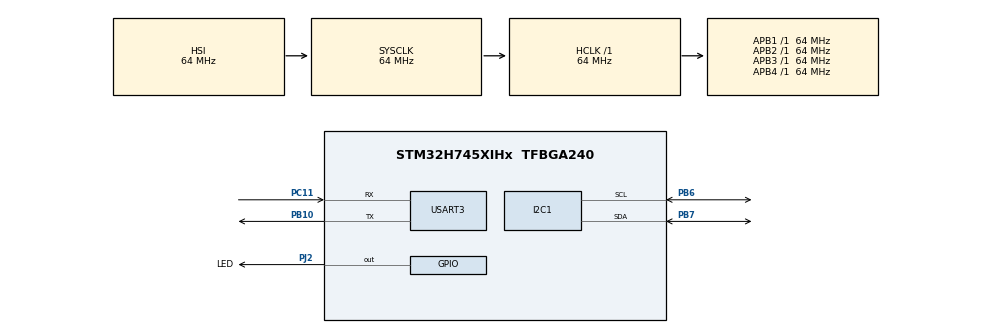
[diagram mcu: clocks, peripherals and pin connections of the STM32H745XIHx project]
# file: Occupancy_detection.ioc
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CortexM4.IPs=FATFS_M4\:I,FREERTOS_M4\:I,IWDG2\:I,RCC,USB_DEVICE_M4\:I,USB_HOST_M4\:I,WWDG2\:I,DMA,BDMA,MDMA,NVIC2\:I,ETH\:I,FDCAN1\:I,FDCAN2\:I,FMC\:I,QUADSPI\:I,SAI2\:I,SDMMC1\:I,LTDC\:I,USB_OTG_FS\:I,SAI4\:I,DEBUG,PDM2PCM_M4\:I,PWR,RESMGR_UTILITY,SYS_M4\:I,CORTEX_M4\:I,OPENAMP_M4\:I,VREFBUF,GPIO
CortexM7.IPs=FATFS_M7\:I,FREERTOS_M7\:I,IWDG1\:I,RCC\:I,USB_DEVICE_M7\:I,USB_HOST_M7\:I,WWDG1\:I,DMA\:I,BDMA\:I,MDMA\:I,NVIC1\:I,CORTEX_M7\:I,DEBUG\:I,PDM2PCM_M7\:I,PWR\:I,RESMGR_UTILITY\:I,SYS\:I,OPENAMP_M7\:I,VREFBUF\:I,GPIO\:I,RTC\:I,I2C1\:I,USART3\:I,STMicroelectronics.X-CUBE-AI.9.0.0_M7\:I
CortexM7.Pins=PJ2
I2C1.Speed=50
I2C1.Timing=0x403032CA
Mcu.Family=STM32H7
Mcu.Name=STM32H745XIHx
Mcu.Package=TFBGA240
NVIC1.I2C1_EV_IRQn=true\:0\:0\:false\:false\:true\:true\:true\:true
NVIC1.PriorityGroup=NVIC_PRIORITYGROUP_4
NVIC1.USART3_IRQn=true\:0\:0\:false\:false\:true\:true\:true\:true
NVIC2.PriorityGroup=NVIC_PRIORITYGROUP_4
PB10.Mode=Asynchronous
PB10.PinAttribute=CortexM7
PB10.Signal=USART3_TX
PB6.GPIO_Pu=GPIO_PULLUP
PB6.Mode=I2C
PB6.PinAttribute=CortexM7
PB6.Signal=I2C1_SCL
PB7.GPIO_Pu=GPIO_PULLUP
PB7.Mode=I2C
PB7.PinAttribute=CortexM7
PB7.Signal=I2C1_SDA
PC11.Mode=Asynchronous
PC11.PinAttribute=CortexM7
PC11.Signal=USART3_RX
PJ2.GPIO_Label=LED
PJ2.PinAttribute=CortexM7
PJ2.Signal=GPIO_Output
ProjectManager.HeapSize=M4-0x200,M7-0x800
ProjectManager.StackSize=M4-0x400,M7-0x800
ProjectManager.TargetToolchain=STM32CubeIDE
RCC.ADCFreq_Value=129000000
RCC.APB1Freq_Value=64000000
RCC.APB2Freq_Value=64000000
RCC.APB3Freq_Value=64000000
RCC.APB4Freq_Value=64000000
RCC.CortexFreq_Value=64000000
RCC.DIVM1=23
RCC.DIVN1=177
RCC.DIVN3=192
RCC.DIVQ1=4
RCC.DIVR1=4
RCC.HCLKFreq_Value=64000000
RCC.PLL2FRACN=0
RCC.PLL3FRACN=0
RCC.PLLFRACN=0
RCC.PWR_Regulator_Voltage_Scale=PWR_REGULATOR_VOLTAGE_SCALE2
RCC.SYSCLKFreq_VALUE=64000000
RCC.SupplySource=PWR_DIRECT_SMPS_SUPPLY
RCC.USBFreq_Value=123130434.78260869
RTC.Date=2
RTC.Hours=14
RTC.Month=RTC_MONTH_FEBRUARY
RTC.Year=23
STMicroelectronics.X-CUBE-AI.9.0.0_M7.HeapSize=0x800
STMicroelectronics.X-CUBE-AI.9.0.0_M7.ReadyForCodeGeneration=false
STMicroelectronics.X-CUBE-AI.9.0.0_M7.StackSize=0x800
USART3.VirtualMode-Asynchronous=VM_ASYNC
VP_RTC_VS_RTC_Activate.Mode=RTC_Enabled
VP_RTC_VS_RTC_Calendar.Mode=RTC_Calendar
VP_SYS_M4_VS_Systick.Mode=SysTick
board=STM32H745I-DISCO

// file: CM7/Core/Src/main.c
/* USER CODE BEGIN Header */
/**
  ******************************************************************************
  * @file           : main.c
  * @brief          : Main program body
  ******************************************************************************
  * @attention
  *
  * Copyright (c) 2024 STMicroelectronics.
  * All rights reserved.
  *
  * This software is licensed under terms that can be found in the LICENSE file
  * in the root directory of this software component.
  * If no LICENSE file comes with this software, it is provided AS-IS.
  *
  ******************************************************************************
  */
/* USER CODE END Header */
#include "main.h"

/* USER CODE BEGIN Includes */
#include "scd30.h"
#include <stdio.h>
#include <string.h>
#include <time.h>

/* USER CODE END Includes */

/* USER CODE BEGIN PD */

#ifndef HSEM_ID_0
#define HSEM_ID_0 (0U) /* HW semaphore 0*/
#endif

#define DISPLAY_LENGTH 100

/* Slave I2C address */
#define SCD30_I2C_ADDRESS 0x61

/* Codes des commandes */
#define SCD30_CMD_START_PERIODIC_MEASUREMENT 0x0010
#define SCD30_CMD_STOP_PERIODIC_MEASUREMENT 0x0104
#define SCD30_CMD_READ_MEASUREMENT 0x0300
#define SCD30_CMD_SET_MEASUREMENT_INTERVAL 0x4600
#define SCD30_CMD_GET_DATA_READY 0x0202
#define SCD30_CMD_SET_TEMPERATURE_OFFSET 0x5403
#define SCD30_CMD_SET_ALTITUDE 0x5102
#define SCD30_CMD_SET_FORCED_RECALIBRATION 0x5204
#define SCD30_CMD_AUTO_SELF_CALIBRATION 0x5306
#define SCD30_CMD_READ_SERIAL 0xD033

#define SCD30_SERIAL_NUM_WORDS 16
#define SCD30_WRITE_DELAY_US 20000
#define SCD30_MAX_BUFFER_WORDS 24
#define SCD30_CMD_SINGLE_WORD_BUF_LEN \
    (SENSIRION_COMMAND_SIZE + SENSIRION_WORD_SIZE + CRC8_LEN)

/* USER CODE END PD */

/* USER CODE BEGIN PM */
#define countof(a) (sizeof(a) / sizeof(*(a)))
/* USER CODE END PM */

I2C_HandleTypeDef hi2c1;

RTC_HandleTypeDef hrtc;

UART_HandleTypeDef huart3;

/* USER CODE BEGIN PV */
char display_str[DISPLAY_LENGTH] = ""; // formated string for measurements
uint8_t INIT[] = "***** Initialize SCD30 sensor *****\r\n";
uint8_t PROBING_FAIL[] = "SCD30 sensor probing failed\r\n";
uint8_t PROBING_SUCCESS[] = "SCD30 sensor probing successful\n\n\r";
uint8_t NOT_READY[] = "\r\nError reading data_ready flag\r\n ";
uint8_t READY_TIMEOUT[] = "\r\nTimeout waiting for data_ready flag\r\n";
uint8_t MEASURE_ERROR[] = "\r\nerror reading measurement\r\n";
uint8_t OFFICE[] = "Please type the office number: ";
uint8_t OCCUPANTS[] = "Please type the number of occupants\r\n";
uint8_t UART_ERROR[] = "UART failure\r\n";
uint8_t UART_OK[] = "\r\nOKAY\r\n";

uint8_t office_number = 0;
uint8_t occupancy = 1;

uint8_t data_buffer[100]; // data buffer
uint8_t recvd_data; // receive buffer
uint32_t count=0; // count how many bytes are received

uint8_t aShowTime[50] = {0};
/* USER CODE END PV */

void SystemClock_Config(void);
static void MX_GPIO_Init(void);
static void MX_I2C1_Init(void);
static void MX_RTC_Init(void);
static void MX_USART3_UART_Init(void);

int main(void)
{

/* USER CODE BEGIN Boot_Mode_Sequence_0 */
  int32_t timeout;
/* USER CODE END Boot_Mode_Sequence_0 */

/* USER CODE BEGIN Boot_Mode_Sequence_1 */
  /* Wait until CPU2 boots and enters in stop mode or timeout*/
    /*timeout = 0xFFFF;
    while((__HAL_RCC_GET_FLAG(RCC_FLAG_D2CKRDY) != RESET) && (timeout-- > 0));
    if ( timeout < 0 )
    {
  	  Error_Handler();
    }*/
/* USER CODE END Boot_Mode_Sequence_1 */
  /* MCU Configuration--------------------------------------------------------*/

  /* Reset of all peripherals, Initializes the Flash interface and the Systick. */
  HAL_Init();

  /* Configure the system clock */
  SystemClock_Config();
/* USER CODE BEGIN Boot_Mode_Sequence_2 */
/* When system initialization is finished, Cortex-M7 will release Cortex-M4 by means of
HSEM notification */
/*HW semaphore Clock enable*/
__HAL_RCC_HSEM_CLK_ENABLE();
/*Take HSEM */
HAL_HSEM_FastTake(HSEM_ID_0);
/*Release HSEM in order to notify the CPU2(CM4)*/
HAL_HSEM_Release(HSEM_ID_0,0);
/* wait until CPU2 wakes up from stop mode */
timeout = 0xFFFF;
while((__HAL_RCC_GET_FLAG(RCC_FLAG_D2CKRDY) == RESET) && (timeout-- > 0));
if ( timeout < 0 )
{
Error_Handler();
}
/* USER CODE END Boot_Mode_Sequence_2 */

  /* Initialize all configured peripherals */
  MX_GPIO_Init();
  MX_I2C1_Init();
  MX_RTC_Init();
  MX_USART3_UART_Init();
  /* USER CODE BEGIN 2 */

  float co2_ppm, temperature, relative_humidity;
  int16_t err;
  uint16_t interval_in_seconds = 2;//900;

  if (HAL_UART_Transmit(&huart3, INIT, countof(INIT)-1, 1000) != HAL_OK)
  {
	  Error_Handler();
  }

  /* Busy loop for initialization, because the main loop does not work without
   * a sensor.
   */
  while (scd30_probe(&hi2c1) != NO_ERROR) {
	  HAL_GPIO_TogglePin(GPIOJ, GPIO_PIN_2);
	  // probing failed
	  if (HAL_UART_Transmit(&huart3, PROBING_FAIL, countof(PROBING_FAIL)-1, 1000) != HAL_OK)
	  {
		  Error_Handler();
	  }
      sensirion_sleep_usec(1000000u);
  }
  // probing was successful

  if (HAL_UART_Transmit(&huart3, PROBING_SUCCESS, countof(PROBING_SUCCESS)-1, 1000) != HAL_OK)
  {
	  Error_Handler();
  }

  scd30_set_measurement_interval(&hi2c1, interval_in_seconds);
  sensirion_sleep_usec(20000u);
  scd30_start_periodic_measurement(&hi2c1, 0);
  /* USER CODE END 2 */

  /* Infinite loop */
  while (1)
  {

    /* USER CODE BEGIN 3 */
	  uint16_t data_ready = 0;
      uint16_t timeout = 0;

      /* Poll data_ready flag until data is available. Allow 20% more than
       * the measurement interval to account for clock imprecision of the
       * sensor.
       */
      for (timeout = 0; (100000 * timeout) < (interval_in_seconds * 1200000);
           ++timeout) {
          err = scd30_get_data_ready(&hi2c1, &data_ready);
          if (err != NO_ERROR) {
        	  HAL_GPIO_TogglePin(GPIOJ, GPIO_PIN_2);

        	  /* Error reading data_ready flag */
        	  if (HAL_UART_Transmit(&huart3, NOT_READY, countof(NOT_READY)-1, 1000) != HAL_OK)
        	  {
        		  Error_Handler();
        	  }
          }
          if (data_ready) {
              break;
          }
          sensirion_sleep_usec(100000);
      }
      if (!data_ready) {
    	  /* Timeout waiting for data_ready flag */
		  if (HAL_UART_Transmit(&huart3, READY_TIMEOUT, countof(READY_TIMEOUT)-1, 1000) != HAL_OK)
		  {
			  Error_Handler();
		  }
          continue;
      }

      /* Measure co2, temperature and relative humidity and store into
       * variables.
       */
      err =
          scd30_read_measurement(&hi2c1, &co2_ppm, &temperature, &relative_humidity);
      if (err != NO_ERROR) {
          /* error reading measurement */
    	  if (HAL_UART_Transmit(&huart3, MEASURE_ERROR, countof(MEASURE_ERROR)-1, 1000) != HAL_OK)
		  {
			  Error_Handler();
		  }

      } else {
          /* Display values */
    	  display_values(display_str, temperature, co2_ppm, relative_humidity, office_number, occupancy);
    	  if (HAL_UART_Transmit(&huart3, (uint8_t *)display_str, countof(display_str)-1, 1000) != HAL_OK)
    	  {
    		  Error_Handler();
    	  }
      }
  }
  /* USER CODE END 3 */
}

void SystemClock_Config(void)
{
  RCC_OscInitTypeDef RCC_OscInitStruct = {0};
  RCC_ClkInitTypeDef RCC_ClkInitStruct = {0};

  /** Supply configuration update enable
  */
  HAL_PWREx_ConfigSupply(PWR_DIRECT_SMPS_SUPPLY);

  /** Configure the main internal regulator output voltage
  */
  __HAL_PWR_VOLTAGESCALING_CONFIG(PWR_REGULATOR_VOLTAGE_SCALE2);

  while(!__HAL_PWR_GET_FLAG(PWR_FLAG_VOSRDY)) {}

  /** Initializes the RCC Oscillators according to the specified parameters
  * in the RCC_OscInitTypeDef structure.
  */
  RCC_OscInitStruct.OscillatorType = RCC_OSCILLATORTYPE_HSI|RCC_OSCILLATORTYPE_LSI;
  RCC_OscInitStruct.HSIState = RCC_HSI_DIV1;
  RCC_OscInitStruct.HSICalibrationValue = RCC_HSICALIBRATION_DEFAULT;
  RCC_OscInitStruct.LSIState = RCC_LSI_ON;
  RCC_OscInitStruct.PLL.PLLState = RCC_PLL_NONE;
  if (HAL_RCC_OscConfig(&RCC_OscInitStruct) != HAL_OK)
  {
    Error_Handler();
  }

  /** Initializes the CPU, AHB and APB buses clocks
  */
  RCC_ClkInitStruct.ClockType = RCC_CLOCKTYPE_HCLK|RCC_CLOCKTYPE_SYSCLK
                              |RCC_CLOCKTYPE_PCLK1|RCC_CLOCKTYPE_PCLK2
                              |RCC_CLOCKTYPE_D3PCLK1|RCC_CLOCKTYPE_D1PCLK1;
  RCC_ClkInitStruct.SYSCLKSource = RCC_SYSCLKSOURCE_HSI;
  RCC_ClkInitStruct.SYSCLKDivider = RCC_SYSCLK_DIV1;
  RCC_ClkInitStruct.AHBCLKDivider = RCC_HCLK_DIV1;
  RCC_ClkInitStruct.APB3CLKDivider = RCC_APB3_DIV1;
  RCC_ClkInitStruct.APB1CLKDivider = RCC_APB1_DIV1;
  RCC_ClkInitStruct.APB2CLKDivider = RCC_APB2_DIV1;
  RCC_ClkInitStruct.APB4CLKDivider = RCC_APB4_DIV1;

  if (HAL_RCC_ClockConfig(&RCC_ClkInitStruct, FLASH_LATENCY_1) != HAL_OK)
  {
    Error_Handler();
  }
}

static void MX_I2C1_Init(void)
{

  hi2c1.Instance = I2C1;
  hi2c1.Init.Timing = 0x403032CA;
  hi2c1.Init.OwnAddress1 = 0;
  hi2c1.Init.AddressingMode = I2C_ADDRESSINGMODE_7BIT;
  hi2c1.Init.DualAddressMode = I2C_DUALADDRESS_DISABLE;
  hi2c1.Init.OwnAddress2 = 0;
  hi2c1.Init.OwnAddress2Masks = I2C_OA2_NOMASK;
  hi2c1.Init.GeneralCallMode = I2C_GENERALCALL_DISABLE;
  hi2c1.Init.NoStretchMode = I2C_NOSTRETCH_DISABLE;
  if (HAL_I2C_Init(&hi2c1) != HAL_OK)
  {
    Error_Handler();
  }

  /** Configure Analogue filter
  */
  if (HAL_I2CEx_ConfigAnalogFilter(&hi2c1, I2C_ANALOGFILTER_ENABLE) != HAL_OK)
  {
    Error_Handler();
  }

  /** Configure Digital filter
  */
  if (HAL_I2CEx_ConfigDigitalFilter(&hi2c1, 0) != HAL_OK)
  {
    Error_Handler();
  }

}

static void MX_RTC_Init(void)
{

  RTC_TimeTypeDef sTime = {0};
  RTC_DateTypeDef sDate = {0};

  /** Initialize RTC Only
  */
  hrtc.Instance = RTC;
  hrtc.Init.HourFormat = RTC_HOURFORMAT_24;
  hrtc.Init.AsynchPrediv = 127;
  hrtc.Init.SynchPrediv = 255;
  hrtc.Init.OutPut = RTC_OUTPUT_DISABLE;
  hrtc.Init.OutPutPolarity = RTC_OUTPUT_POLARITY_HIGH;
  hrtc.Init.OutPutType = RTC_OUTPUT_TYPE_OPENDRAIN;
  hrtc.Init.OutPutRemap = RTC_OUTPUT_REMAP_NONE;
  if (HAL_RTC_Init(&hrtc) != HAL_OK)
  {
    Error_Handler();
  }

  /** Initialize RTC and set the Time and Date
  */
  sTime.Hours = 0x14;
  sTime.Minutes = 0x0;
  sTime.Seconds = 0x0;
  sTime.DayLightSaving = RTC_DAYLIGHTSAVING_NONE;
  sTime.StoreOperation = RTC_STOREOPERATION_RESET;
  if (HAL_RTC_SetTime(&hrtc, &sTime, RTC_FORMAT_BCD) != HAL_OK)
  {
    Error_Handler();
  }
  sDate.WeekDay = RTC_WEEKDAY_MONDAY;
  sDate.Month = RTC_MONTH_FEBRUARY;
  sDate.Date = 0x2;
  sDate.Year = 0x23;

  if (HAL_RTC_SetDate(&hrtc, &sDate, RTC_FORMAT_BCD) != HAL_OK)
  {
    Error_Handler();
  }

}

static void MX_USART3_UART_Init(void)
{

  huart3.Instance = USART3;
  huart3.Init.BaudRate = 115200;
  huart3.Init.WordLength = UART_WORDLENGTH_8B;
  huart3.Init.StopBits = UART_STOPBITS_1;
  huart3.Init.Parity = UART_PARITY_NONE;
  huart3.Init.Mode = UART_MODE_TX_RX;
  huart3.Init.HwFlowCtl = UART_HWCONTROL_NONE;
  huart3.Init.OverSampling = UART_OVERSAMPLING_16;
  huart3.Init.OneBitSampling = UART_ONE_BIT_SAMPLE_DISABLE;
  huart3.Init.ClockPrescaler = UART_PRESCALER_DIV1;
  huart3.AdvancedInit.AdvFeatureInit = UART_ADVFEATURE_NO_INIT;
  if (HAL_UART_Init(&huart3) != HAL_OK)
  {
    Error_Handler();
  }
  if (HAL_UARTEx_SetTxFifoThreshold(&huart3, UART_TXFIFO_THRESHOLD_1_8) != HAL_OK)
  {
    Error_Handler();
  }
  if (HAL_UARTEx_SetRxFifoThreshold(&huart3, UART_RXFIFO_THRESHOLD_1_8) != HAL_OK)
  {
    Error_Handler();
  }
  if (HAL_UARTEx_DisableFifoMode(&huart3) != HAL_OK)
  {
    Error_Handler();
  }

}

static void MX_GPIO_Init(void)
{
  GPIO_InitTypeDef GPIO_InitStruct = {0};

  /* GPIO Ports Clock Enable */
  __HAL_RCC_GPIOB_CLK_ENABLE();
  __HAL_RCC_GPIOC_CLK_ENABLE();
  __HAL_RCC_GPIOJ_CLK_ENABLE();

  /*Configure GPIO pin Output Level */
  HAL_GPIO_WritePin(LED_GPIO_Port, LED_Pin, GPIO_PIN_RESET);

  /*Configure GPIO pin : LED_Pin */
  GPIO_InitStruct.Pin = LED_Pin;
  GPIO_InitStruct.Mode = GPIO_MODE_OUTPUT_PP;
  GPIO_InitStruct.Pull = GPIO_NOPULL;
  GPIO_InitStruct.Speed = GPIO_SPEED_FREQ_LOW;
  HAL_GPIO_Init(LED_GPIO_Port, &GPIO_InitStruct);

}

/* USER CODE BEGIN 4 */

uint16_t scd30_start_periodic_measurement(I2C_HandleTypeDef* hi2c, uint16_t ambient_pressure_mbar) {
    if (ambient_pressure_mbar &&
        (ambient_pressure_mbar < 700 || ambient_pressure_mbar > 1400)) {
        /* out of allowable range */
        return STATUS_FAIL;
    }

    return sensirion_i2c_write_cmd_with_args(hi2c,
        SCD30_I2C_ADDRESS, SCD30_CMD_START_PERIODIC_MEASUREMENT,
        &ambient_pressure_mbar, SENSIRION_NUM_WORDS(ambient_pressure_mbar));
}

int16_t scd30_stop_periodic_measurement(I2C_HandleTypeDef* hi2c) {
    return sensirion_i2c_write_cmd(hi2c, SCD30_I2C_ADDRESS,
                                   SCD30_CMD_STOP_PERIODIC_MEASUREMENT);
}

int16_t scd30_read_measurement(I2C_HandleTypeDef* hi2c, float* co2_ppm, float* temperature,
                               float* humidity) {
    int16_t error;
    uint8_t data[3][4];

    error =
        sensirion_i2c_write_cmd(hi2c, SCD30_I2C_ADDRESS, SCD30_CMD_READ_MEASUREMENT);
    if (error != NO_ERROR)
        return error;

    error = sensirion_i2c_read_words_as_bytes(hi2c, SCD30_I2C_ADDRESS, &data[0][0],
                                              SENSIRION_NUM_WORDS(data));
    if (error != NO_ERROR)
        return error;

    *co2_ppm = sensirion_bytes_to_float(data[0]);
    *temperature = sensirion_bytes_to_float(data[1]);
    *humidity = sensirion_bytes_to_float(data[2]);

    return NO_ERROR;
}

int16_t scd30_set_measurement_interval(I2C_HandleTypeDef* hi2c, uint16_t interval_sec) {
    int16_t error;

    if (interval_sec < 2 || interval_sec > 1800) {
        /* out of allowable range */
        return STATUS_FAIL;
    }

    error = sensirion_i2c_write_cmd_with_args(hi2c,
        SCD30_I2C_ADDRESS, SCD30_CMD_SET_MEASUREMENT_INTERVAL, &interval_sec,
        SENSIRION_NUM_WORDS(interval_sec));
    sensirion_sleep_usec(SCD30_WRITE_DELAY_US);

    return error;
}

int16_t scd30_get_data_ready(I2C_HandleTypeDef* hi2c, uint16_t* data_ready) {
    return sensirion_i2c_delayed_read_cmd(hi2c,
        SCD30_I2C_ADDRESS, SCD30_CMD_GET_DATA_READY, 3000, data_ready,
        SENSIRION_NUM_WORDS(*data_ready));
}

int16_t scd30_set_temperature_offset(I2C_HandleTypeDef* hi2c, uint16_t temperature_offset) {
    int16_t error;

    error = sensirion_i2c_write_cmd_with_args(hi2c,
        SCD30_I2C_ADDRESS, SCD30_CMD_SET_TEMPERATURE_OFFSET,
        &temperature_offset, SENSIRION_NUM_WORDS(temperature_offset));
    sensirion_sleep_usec(SCD30_WRITE_DELAY_US);

    return error;
}

int16_t scd30_set_altitude(I2C_HandleTypeDef* hi2c, uint16_t altitude) {
    int16_t error;

    error = sensirion_i2c_write_cmd_with_args(hi2c, SCD30_I2C_ADDRESS,
                                              SCD30_CMD_SET_ALTITUDE, &altitude,
                                              SENSIRION_NUM_WORDS(altitude));
    sensirion_sleep_usec(SCD30_WRITE_DELAY_US);

    return error;
}

int16_t scd30_get_automatic_self_calibration(I2C_HandleTypeDef* hi2c, uint8_t* asc_enabled) {
    uint16_t word;
    int16_t error;

    error = sensirion_i2c_read_cmd(hi2c, SCD30_I2C_ADDRESS,
                                   SCD30_CMD_AUTO_SELF_CALIBRATION, &word,
                                   SENSIRION_NUM_WORDS(word));
    if (error != NO_ERROR)
        return error;

    *asc_enabled = (uint8_t)word;

    return NO_ERROR;
}

int16_t scd30_enable_automatic_self_calibration(I2C_HandleTypeDef* hi2c, uint8_t enable_asc) {
    int16_t error;
    uint16_t asc = !!enable_asc;

    error = sensirion_i2c_write_cmd_with_args(hi2c, SCD30_I2C_ADDRESS,
                                              SCD30_CMD_AUTO_SELF_CALIBRATION,
                                              &asc, SENSIRION_NUM_WORDS(asc));
    sensirion_sleep_usec(SCD30_WRITE_DELAY_US);

    return error;
}

int16_t scd30_set_forced_recalibration(I2C_HandleTypeDef* hi2c, uint16_t co2_ppm) {
    int16_t error;

    error = sensirion_i2c_write_cmd_with_args(hi2c,
        SCD30_I2C_ADDRESS, SCD30_CMD_SET_FORCED_RECALIBRATION, &co2_ppm,
        SENSIRION_NUM_WORDS(co2_ppm));
    sensirion_sleep_usec(SCD30_WRITE_DELAY_US);

    return error;
}

int16_t scd30_read_serial(I2C_HandleTypeDef* hi2c, char* serial) {
    int16_t error;

    error = sensirion_i2c_write_cmd(hi2c, SCD30_I2C_ADDRESS, SCD30_CMD_READ_SERIAL);
    if (error)
        return error;

    sensirion_sleep_usec(SCD30_WRITE_DELAY_US);
    error = sensirion_i2c_read_words_as_bytes(hi2c,
        SCD30_I2C_ADDRESS, (uint8_t*)serial, SCD30_SERIAL_NUM_WORDS);
    serial[2 * SCD30_SERIAL_NUM_WORDS] = '\0';
    return error;
}

uint8_t scd30_get_configured_address() {
    return SCD30_I2C_ADDRESS;
}

int16_t scd30_probe(I2C_HandleTypeDef* hi2c) {
    uint16_t data_ready;

    /* try to read data-ready state */
    return scd30_get_data_ready(hi2c, &data_ready);
}

void display_values(char* display_str, float temperature, float co2_ppm, float relative_humidity, uint8_t office_number, uint8_t occupancy)
{
	  int temperatureInt, temperatureFrac, humidityInt, humidityFrac;
	  float tmpFrac;

	  temperatureInt = temperature;
	  tmpFrac = temperature - temperatureInt;
	  temperatureFrac = trunc(tmpFrac * 10);

	  humidityInt = relative_humidity;
	  tmpFrac = relative_humidity - humidityInt;
	  humidityFrac = trunc(tmpFrac * 100);

	  RTC_DateTypeDef sdatestructureget;
	  RTC_TimeTypeDef stimestructureget;

	  /* Get the RTC current Time */
	  HAL_RTC_GetTime(&hrtc, &stimestructureget, RTC_FORMAT_BIN);
	  /* Get the RTC current Date */
	  HAL_RTC_GetDate(&hrtc, &sdatestructureget, RTC_FORMAT_BIN);

	  snprintf(display_str, DISPLAY_LENGTH,"\r\n%02d-%02d-%02d %02d:%02d \t %d.%01d \t %d \t %d.%02d \t %d   %d\r",
			  sdatestructureget.Date, sdatestructureget.Month, sdatestructureget.Year, stimestructureget.Hours, stimestructureget.Minutes,
			  temperatureInt, temperatureFrac, (int)co2_ppm, humidityInt, humidityFrac, (int)office_number, (int)occupancy);

}

void HAL_UART_RxCpltCallback(UART_HandleTypeDef *huart)
{
	 if(recvd_data == '\r') //when enter is pressed go to this condition
	 {
		 data_buffer[count++]='\r';
		 HAL_UART_Transmit(huart,data_buffer,count,1000); //transmit the full sentence again
		 memset(data_buffer, 0, count); // empty the data buffer
		 count = 0;
	 }
	 else
	 {
		 data_buffer[count++] = recvd_data; // every time when interrupt is happen, received 1 byte of data
	 }
	 HAL_UART_Receive_IT(&huart3,&recvd_data,1); //start next data receive interrupt

}
/* USER CODE END 4 */

void Error_Handler(void)
{
	  /* USER CODE BEGIN Error_Handler_Debug */
	  /* User can add his own implementation to report the HAL error return state */
	  //__disable_irq();
	  while (1)
	  {
		  HAL_GPIO_TogglePin(GPIOJ, GPIO_PIN_2);
		  HAL_Delay(1000);
	  }
	  /* USER CODE END Error_Handler_Debug */
}
